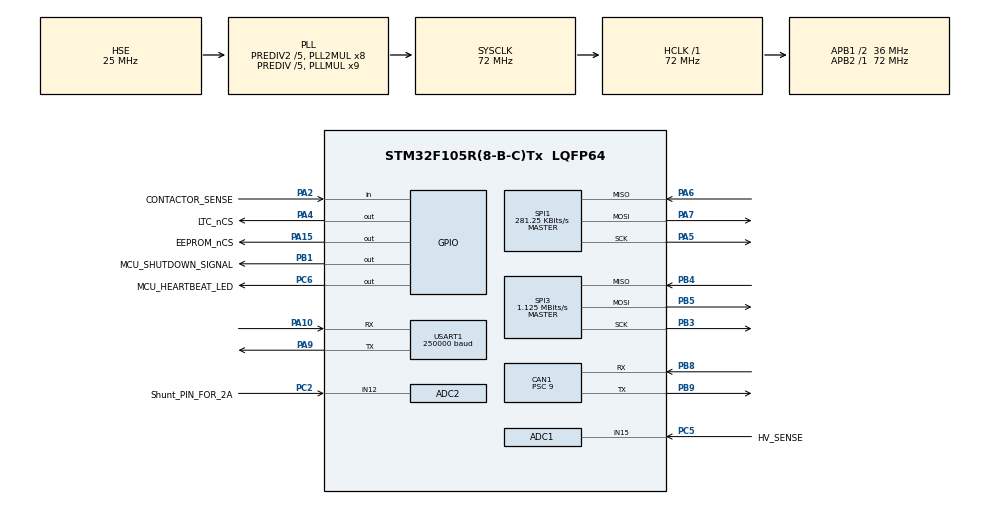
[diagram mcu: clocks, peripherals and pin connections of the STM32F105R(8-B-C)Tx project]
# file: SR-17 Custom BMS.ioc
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ADC1.Channel-1\#ChannelRegularConversion=ADC_CHANNEL_VREFINT
ADC1.Channel-2\#ChannelRegularConversion=ADC_CHANNEL_15
ADC1.NbrOfConversion=2
ADC1.NbrOfConversionFlag=1
ADC1.Rank-1\#ChannelRegularConversion=1
ADC1.Rank-2\#ChannelRegularConversion=2
ADC1.SamplingTime-1\#ChannelRegularConversion=ADC_SAMPLETIME_239CYCLES_5
ADC1.SamplingTime-2\#ChannelRegularConversion=ADC_SAMPLETIME_239CYCLES_5
ADC1.master=1
ADC2.Channel-1\#ChannelRegularConversion=ADC_CHANNEL_12
ADC2.NbrOfConversionFlag=1
ADC2.Rank-1\#ChannelRegularConversion=1
ADC2.SamplingTime-1\#ChannelRegularConversion=ADC_SAMPLETIME_1CYCLE_5
CAN1.ABOM=ENABLE
CAN1.BS1=CAN_BS1_3TQ
CAN1.BS2=CAN_BS2_4TQ
CAN1.CalculateBaudRate=500000
CAN1.CalculateTimeBit=2000
CAN1.CalculateTimeQuantum=250.0
CAN1.NART=ENABLE
CAN1.Prescaler=9
Dma.ADC1.0.Direction=DMA_PERIPH_TO_MEMORY
Dma.ADC1.0.Instance=DMA1_Channel1
Dma.ADC1.0.MemDataAlignment=DMA_MDATAALIGN_HALFWORD
Dma.ADC1.0.MemInc=DMA_MINC_ENABLE
Dma.ADC1.0.Mode=DMA_NORMAL
Dma.ADC1.0.PeriphDataAlignment=DMA_PDATAALIGN_HALFWORD
Dma.ADC1.0.PeriphInc=DMA_PINC_DISABLE
Dma.ADC1.0.Priority=DMA_PRIORITY_LOW
Dma.Request0=ADC1
Mcu.Family=STM32F1
Mcu.Name=STM32F105R(8-B-C)Tx
Mcu.Package=LQFP64
NVIC.CAN1_RX0_IRQn=true\:2\:0\:true\:false\:true\:true\:true\:true
NVIC.CAN1_RX1_IRQn=true\:2\:0\:true\:false\:true\:true\:true\:true
NVIC.CAN1_SCE_IRQn=true\:2\:0\:true\:false\:true\:true\:true\:true
NVIC.CAN1_TX_IRQn=true\:2\:0\:true\:false\:true\:true\:true\:true
NVIC.DMA1_Channel1_IRQn=true\:0\:0\:false\:false\:true\:true\:true\:true
NVIC.PriorityGroup=NVIC_PRIORITYGROUP_4
NVIC.SPI1_IRQn=true\:0\:0\:false\:false\:true\:true\:true\:true
NVIC.TIM7_IRQn=true\:0\:0\:false\:false\:true\:true\:true\:true
NVIC.USART1_IRQn=true\:3\:0\:true\:false\:true\:true\:true\:true
PA10.Mode=Asynchronous
PA10.Signal=USART1_RX
PA13.Mode=Serial_Wire
PA13.Signal=SYS_JTMS-SWDIO
PA14.Mode=Serial_Wire
PA14.Signal=SYS_JTCK-SWCLK
PA15.GPIO_Label=EEPROM_nCS
PA15.Signal=GPIO_Output
PA2.GPIO_Label=CONTACTOR_SENSE
PA2.Signal=GPIO_Input
PA4.GPIO_Label=LTC_nCS
PA4.Signal=GPIO_Output
PA5.Mode=Full_Duplex_Master
PA5.Signal=SPI1_SCK
PA6.GPIO_PuPd=GPIO_PULLUP
PA6.Mode=Full_Duplex_Master
PA6.Signal=SPI1_MISO
PA7.Mode=Full_Duplex_Master
PA7.Signal=SPI1_MOSI
PA9.GPIO_Speed=GPIO_SPEED_FREQ_LOW
PA9.Mode=Asynchronous
PA9.Signal=USART1_TX
PB1.GPIO_Label=MCU_SHUTDOWN_SIGNAL
PB1.Signal=GPIO_Output
PB3.Mode=Full_Duplex_Master
PB3.Signal=SPI3_SCK
PB4.Mode=Full_Duplex_Master
PB4.Signal=SPI3_MISO
PB5.Mode=Full_Duplex_Master
PB5.Signal=SPI3_MOSI
PB8.GPIO_PuPd=GPIO_PULLUP
PB8.Mode=CAN_Activate
PB8.Signal=CAN1_RX
PB9.Mode=CAN_Activate
PB9.Signal=CAN1_TX
PC0.Signal=ADCx_IN10
PC1.Signal=ADCx_IN11
PC2.GPIO_Label=Shunt_PIN_FOR_2A
PC2.Signal=ADCx_IN12
PC5.GPIO_Label=HV_SENSE
PC5.Signal=ADCx_IN15
PC6.GPIO_Label=MCU_HEARTBEAT_LED
PC6.Signal=GPIO_Output
PD0-OSC_IN.Mode=HSE-External-Oscillator
PD0-OSC_IN.Signal=RCC_OSC_IN
PD1-OSC_OUT.Mode=HSE-External-Oscillator
PD1-OSC_OUT.Signal=RCC_OSC_OUT
ProjectManager.HeapSize=0x200
ProjectManager.StackSize=0x400
ProjectManager.TargetToolchain=STM32CubeIDE
RCC.ADCPresc=RCC_ADCPCLK2_DIV6
RCC.AHBFreq_Value=72000000
RCC.APB1CLKDivider=RCC_HCLK_DIV2
RCC.APB1Freq_Value=36000000
RCC.APB1TimFreq_Value=72000000
RCC.APB2Freq_Value=72000000
RCC.APB2TimFreq_Value=72000000
RCC.HCLKFreq_Value=72000000
RCC.HSEDivPLL=RCC_HSE_PREDIV_DIV5
RCC.HSE_VALUE=25000000
RCC.PLLMUL=RCC_PLL_MUL9
RCC.PLLSourceVirtual=RCC_PLLSOURCE_HSE
RCC.Prediv1Source=RCC_PREDIV1_SOURCE_PLL2
RCC.Prediv2=RCC_HSE_PREDIV2_DIV5
RCC.SYSCLKFreq_VALUE=72000000
RCC.SYSCLKSource=RCC_SYSCLKSOURCE_PLLCLK
RCC.USBFreq_Value=48000000
SH.ADCx_IN10.0=ADC2_IN10
SH.ADCx_IN11.0=ADC2_IN11
SH.ADCx_IN12.0=ADC2_IN12,IN12
SH.ADCx_IN15.0=ADC1_IN15,IN15
SPI1.BaudRatePrescaler=SPI_BAUDRATEPRESCALER_256
SPI1.CLKPhase=SPI_PHASE_2EDGE
SPI1.CLKPolarity=SPI_POLARITY_HIGH
SPI1.CalculateBaudRate=281.25 KBits/s
SPI1.Direction=SPI_DIRECTION_2LINES
SPI1.Mode=SPI_MODE_MASTER
SPI1.VirtualType=VM_MASTER
SPI3.BaudRatePrescaler=SPI_BAUDRATEPRESCALER_32
SPI3.CalculateBaudRate=1.125 MBits/s
SPI3.Direction=SPI_DIRECTION_2LINES
SPI3.Mode=SPI_MODE_MASTER
SPI3.VirtualType=VM_MASTER
TIM7.AutoReloadPreload=TIM_AUTORELOAD_PRELOAD_ENABLE
TIM7.Period=65535
TIM7.Prescaler=0
USART1.BaudRate=250000
USART1.VirtualMode=VM_ASYNC
VP_ADC1_Vref_Input.Mode=IN-Vrefint
VP_CRC_VS_CRC.Mode=CRC_Activate
VP_TIM1_VS_ClockSourceINT.Mode=Internal
VP_TIM7_VS_ClockSourceINT.Mode=Enable_Timer
board=custom

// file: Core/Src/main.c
/* USER CODE BEGIN Header */
/**
 ******************************************************************************
 * @file           : main.c
 * @brief          : Main program body
 ******************************************************************************
 * @attention
 *
 * Copyright (c) 2024 STMicroelectronics.
 * All rights reserved.
 *
 * This software is licensed under terms that can be found in the LICENSE file
 * in the root directory of this software component.
 * If no LICENSE file comes with this software, it is provided AS-IS.
 *
 ******************************************************************************
 */
/* USER CODE END Header */
#include "main.h"
#include "adc.h"
#include "can.h"
#include "crc.h"
#include "dma.h"
#include "gpio.h"
#include "spi.h"
#include "tim.h"
#include "usart.h"

/* USER CODE BEGIN Includes */
#include "accumulator.h"
#include "adbms6830b.h"
#include "balance.h"
#include "charger.h"
#include "contactor_sense.h"
#include "eeprom.h"
#include "hv_sense.h"
#include "module.h"
#include "safety.h"
#include "shunt.h"
#include "soc.h"
#include "string.h"
#include <stdint.h>
#include <stdio.h>
#include <time.h>

/* USER CODE END Includes */

void SystemClock_Config(void);

/* USER CODE BEGIN 0 */
// static uint8_t BMS_MUX_PAUSE[2][6] = {{0x69, 0x28, 0x0F, 0x09, 0x7F, 0xF9},
//                                       {0x69, 0x08, 0x0F, 0x09, 0x7F, 0xF9}};
/* USER CODE END 0 */

int main(void)
{
	/* USER CODE BEGIN 1 */
	AccumulatorData accmData;
	ModuleData modData[NUM_MOD];
	BalanceStatus balanceStatus[NUM_MOD] = {0};
	ConfigurationRegisterB configB[NUM_MOD] = {0};
	CANMessage msg;

	//	uint8_t moduleCounts = 0;

	/* USER CODE END 1 */

	/* MCU Configuration--------------------------------------------------------*/

	/* Reset of all peripherals, Initializes the Flash interface and the Systick. */
	HAL_Init();

	/* Configure the system clock */
	SystemClock_Config();

	/* Initialize all configured peripherals */
	MX_GPIO_Init();
	MX_DMA_Init();
	MX_ADC1_Init();
	MX_ADC2_Init();
	MX_TIM7_Init();
	MX_SPI1_Init();
	MX_CAN1_Init();
	MX_USART1_UART_Init();
	MX_TIM1_Init();
	MX_CRC_Init();
	MX_SPI3_Init();
	/* USER CODE BEGIN 2 */

	HAL_TIM_Base_Start(&htim1);

	CAN_settingsInit(&msg);

	// Start ADC conversions for HV Sense
	HAL_ADCEx_Calibration_Start(&hadc1);
	ADC1_startConversion();

	ADBMS_csHigh();
	ADBMS_generateCrcTables();
	ADBMS_init();

	Module_init(modData);
	Accumulator_init(&accmData);
	Balance_init(balanceStatus, configB);
	Charger_init(&accmData);
	Shunt_init();
	// TODO: Check if this is needed
	// Sending a fault signal and reseting it
	// HAL_GPIO_WritePin(MCU_SHUTDOWN_SIGNAL_GPIO_Port, MCU_SHUTDOWN_SIGNAL_Pin, GPIO_PIN_SET);
	HAL_Delay(1000);
	ClearFaultSignal(); // those are for debug the charger and mobo
	SOC_init(&accmData, modData);
	uint32_t lastSOCTime_ms = HAL_GetTick();
	// HAL_ADCEx_Calibration_Start(&hadc2);
	/* USER CODE END 2 */

	/* Infinite loop */
	/* USER CODE BEGIN WHILE */
	while (1)
	{
		uint32_t start = HAL_GetTick();

		Module_getCellVoltages(modData);
		Module_getVoltageStats(modData);
		Accumulator_getVoltageStats(&accmData, modData);
		HVSense_getPackVoltage(&accmData);

		Module_getTemperatures(modData);
		Module_getTemperatureStats(modData);
		Accumulator_getTemperatureStats(&accmData, modData);

		Shunt_updateAccumulator(&accmData);
		Charger_updateStatus(&accmData);

		SOC_updateCharge(&accmData, HAL_GetTick() - lastSOCTime_ms);
		lastSOCTime_ms = HAL_GetTick();
		// ContactorSense_getContactorState(&accmData);

		// Voltage readings are wrong during balancing so don't check faults while balancing
		if (currentBalanceState != BALANCE_STATE_ACTIVE)
		{
			Safety_checkFaults(&accmData, modData);
		}

		// Passive balancing is called unless a fault has occurred
		Balance_handleBalancing(modData, &accmData, balanceStatus, configB);

		CAN_sendPackSummary(&msg, &accmData);
		CAN_sendVoltageData(&msg, modData);
		CAN_sendTemperatureData(&msg, modData);
		CAN_sendSOC(&msg, &accmData);
		CAN_sendBalanceStatus(&msg, balanceStatus);
		CAN_sendModuleSummary(&msg, modData);
		CAN_sendFaultStatus(&msg);
		CAN_sendFaultAndWarningSummary(&msg);
		CAN_sendCanHeartBeat(&msg);
		CAN_sendBalanceState(&msg);
		CAN_sendSafetyChecker(&msg, &accmData);

		uint32_t end = HAL_GetTick();
		printf("cycle time ms: %d\n", end - start);

		HAL_GPIO_TogglePin(MCU_HEARTBEAT_LED_GPIO_Port, MCU_HEARTBEAT_LED_Pin);
		/* USER CODE END WHILE */

	}
}

void SystemClock_Config(void)
{
	RCC_OscInitTypeDef RCC_OscInitStruct = {0};
	RCC_ClkInitTypeDef RCC_ClkInitStruct = {0};
	RCC_PeriphCLKInitTypeDef PeriphClkInit = {0};

	/** Initializes the RCC Oscillators according to the specified parameters
	 * in the RCC_OscInitTypeDef structure.
	 */
	RCC_OscInitStruct.OscillatorType = RCC_OSCILLATORTYPE_HSE;
	RCC_OscInitStruct.HSEState = RCC_HSE_ON;
	RCC_OscInitStruct.HSEPredivValue = RCC_HSE_PREDIV_DIV5;
	RCC_OscInitStruct.HSIState = RCC_HSI_ON;
	RCC_OscInitStruct.Prediv1Source = RCC_PREDIV1_SOURCE_PLL2;
	RCC_OscInitStruct.PLL.PLLState = RCC_PLL_ON;
	RCC_OscInitStruct.PLL.PLLSource = RCC_PLLSOURCE_HSE;
	RCC_OscInitStruct.PLL.PLLMUL = RCC_PLL_MUL9;
	RCC_OscInitStruct.PLL2.PLL2State = RCC_PLL2_ON;
	RCC_OscInitStruct.PLL2.PLL2MUL = RCC_PLL2_MUL8;
	RCC_OscInitStruct.PLL2.HSEPrediv2Value = RCC_HSE_PREDIV2_DIV5;
	if (HAL_RCC_OscConfig(&RCC_OscInitStruct) != HAL_OK)
	{
		Error_Handler();
	}

	/** Initializes the CPU, AHB and APB buses clocks
	 */
	RCC_ClkInitStruct.ClockType = RCC_CLOCKTYPE_HCLK | RCC_CLOCKTYPE_SYSCLK | RCC_CLOCKTYPE_PCLK1 | RCC_CLOCKTYPE_PCLK2;
	RCC_ClkInitStruct.SYSCLKSource = RCC_SYSCLKSOURCE_PLLCLK;
	RCC_ClkInitStruct.AHBCLKDivider = RCC_SYSCLK_DIV1;
	RCC_ClkInitStruct.APB1CLKDivider = RCC_HCLK_DIV2;
	RCC_ClkInitStruct.APB2CLKDivider = RCC_HCLK_DIV1;

	if (HAL_RCC_ClockConfig(&RCC_ClkInitStruct, FLASH_LATENCY_2) != HAL_OK)
	{
		Error_Handler();
	}
	PeriphClkInit.PeriphClockSelection = RCC_PERIPHCLK_ADC;
	PeriphClkInit.AdcClockSelection = RCC_ADCPCLK2_DIV6;
	if (HAL_RCCEx_PeriphCLKConfig(&PeriphClkInit) != HAL_OK)
	{
		Error_Handler();
	}

	/** Configure the Systick interrupt time
	 */
	__HAL_RCC_PLLI2S_ENABLE();
}

void Error_Handler(void)
{
	/* USER CODE BEGIN Error_Handler_Debug */
	/* User can add his own implementation to report the HAL error return state
	 */
	__disable_irq();
	while (1) {}
	/* USER CODE END Error_Handler_Debug */
}
#ifdef USE_FULL_ASSERT
/**
 * @brief  Reports the name of the source file and the source line number
 *         where the assert_param error has occurred.
 * @param  file: pointer to the source file name
 * @param  line: assert_param error line source number
 * @retval None
 */
void assert_failed(uint8_t *file, uint32_t line)
{
	/* USER CODE BEGIN 6 */
	/* User can add his own implementation to report the file name and line
	   number, ex: printf("Wrong parameters value: file %s on line %d\r\n",
	   file, line) */
	/* USER CODE END 6 */
}
#endif /* USE_FULL_ASSERT */
